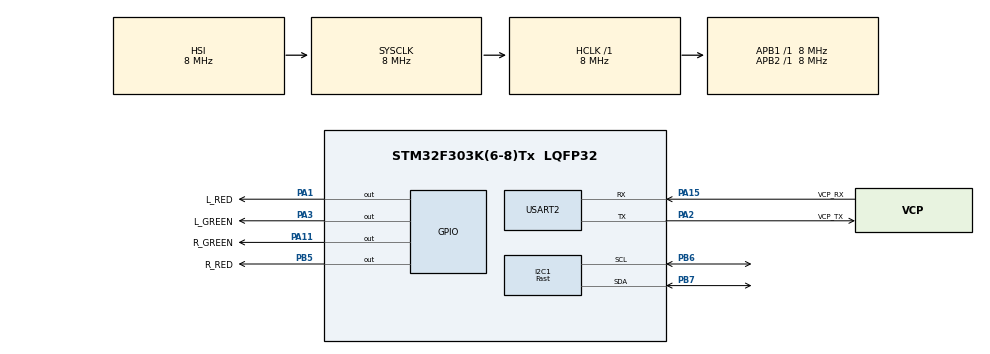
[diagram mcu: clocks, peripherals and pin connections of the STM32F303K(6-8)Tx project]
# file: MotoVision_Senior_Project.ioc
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I2C1.I2C_Speed_Mode=I2C_Fast
I2C1.OwnAddress=0x62
I2C1.Speed=400
I2C1.Timing=0x0000020B
Mcu.Family=STM32F3
Mcu.Name=STM32F303K(6-8)Tx
Mcu.Package=LQFP32
NVIC.I2C1_EV_IRQn=true\:0\:0\:false\:false\:true\:true\:true\:true
NVIC.PriorityGroup=NVIC_PRIORITYGROUP_4
PA1.GPIO_Label=L_RED
PA1.Signal=GPIO_Output
PA11.GPIO_Label=R_GREEN
PA11.Signal=GPIO_Output
PA13.GPIO_Label=SWDIO
PA13.Mode=Serial_Wire
PA13.Signal=SYS_JTMS-SWDIO
PA14.GPIO_Label=SWCLK
PA14.Mode=Serial_Wire
PA14.Signal=SYS_JTCK-SWCLK
PA15.GPIO_Label=VCP_RX
PA15.Mode=Asynchronous
PA15.Signal=USART2_RX
PA2.GPIO_Label=VCP_TX
PA2.Mode=Asynchronous
PA2.Signal=USART2_TX
PA3.GPIO_Label=L_GREEN
PA3.Signal=GPIO_Output
PB5.GPIO_Label=R_RED
PB5.Signal=GPIO_Output
PB6.GPIO_FM6=SYSCFG_CFGR1_I2C_PB6_FMP
PB6.GPIO_Pu=GPIO_PULLUP
PB6.Mode=I2C
PB6.Signal=I2C1_SCL
PB7.GPIO_FM7=SYSCFG_CFGR1_I2C_PB7_FMP
PB7.GPIO_Pu=GPIO_PULLUP
PB7.Mode=I2C
PB7.Signal=I2C1_SDA
PF0\ /\ OSC_IN.GPIO_Label=MCO
PF0\ /\ OSC_IN.Mode=HSE-External-Clock-Source
PF0\ /\ OSC_IN.Signal=RCC_OSC_IN
ProjectManager.HeapSize=0x200
ProjectManager.StackSize=0x400
ProjectManager.TargetToolchain=STM32CubeIDE
RCC.AHBFreq_Value=8000000
RCC.APB1Freq_Value=8000000
RCC.APB2Freq_Value=8000000
RCC.CortexFreq_Value=8000000
RCC.HSE_VALUE=8000000
RCC.HSI_VALUE=8000000
RCC.SYSCLKFreq_VALUE=8000000
USART2.VirtualMode-Asynchronous=VM_ASYNC
board=NUCLEO-F303K8

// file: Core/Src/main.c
/* USER CODE BEGIN Header */
/**
  ******************************************************************************
  * @file           : main.c
  * @brief          : Main program body
  ******************************************************************************
  * @attention
  *
  * Copyright (c) 2023 STMicroelectronics.
  * All rights reserved.
  *
  * This software is licensed under terms that can be found in the LICENSE file
  * in the root directory of this software component.
  * If no LICENSE file comes with this software, it is provided AS-IS.
  *
  ******************************************************************************
  */
/* USER CODE END Header */
#include "main.h"

/* USER CODE BEGIN Includes */
#include "garmin_lidar_litev4.h"
#include "RGB_LED.h"

#include <stdio.h>
#include <string.h>
/* USER CODE END Includes */

I2C_HandleTypeDef hi2c1;

UART_HandleTypeDef huart2;

void SystemClock_Config(void);
static void MX_GPIO_Init(void);
static void MX_USART2_UART_Init(void);
static void MX_I2C1_Init(void);

int main(void)
{

  /* MCU Configuration--------------------------------------------------------*/

  /* Reset of all peripherals, Initializes the Flash interface and the Systick. */
  HAL_Init();

  /* Configure the system clock */
  SystemClock_Config();

  /* Initialize all configured peripherals */
  MX_GPIO_Init();
  MX_USART2_UART_Init();
  MX_I2C1_Init();
  /* USER CODE BEGIN 2 */

  // Disable default address for left sensor
  // DisableDefaultAddress(LIDAR_ADDR_L);
  ConfigureLidarAddress(LIDAR_ADDR_L, LIDAR_ADDR_L, 1);

  CheckRightSensor();
  CheckLeftSensor();

  uint16_t tempR;
  uint16_t tempL;
  /* USER CODE END 2 */

  /* Infinite loop */
  /* USER CODE BEGIN WHILE */
  while (1)
  {
	  // Get right and left distances
	  tempR = GetDistance(LIDAR_ADDR_R);
	  tempL = GetDistance(LIDAR_ADDR_L);

	  // Check for 'Lane Splitting' condition
	  if(tempR < 100 && tempL < 100)
	  {
		  R_OFF_LED();
		  L_OFF_LED();
	  }
	  else {
		  // Check for valid right distance and set
		  if(tempR > 5)
			  distanceR = tempR;
		  // If distance not valid keep previous distance
		  if(distanceR < 100)
			  R_RED_LED();
		  else if(distanceR > 200)
			  R_OFF_LED();
		  else
			  R_YELLOW_LED();

		  // Check for valid left distance and set
		  if(tempL > 5)
			  distanceL = tempL;
		  // If distance not valid keep previous distance
		  if(distanceL < 100)
			  L_RED_LED();
		  else if(distanceL > 200)
			  L_OFF_LED();
		  else
			  L_YELLOW_LED();
	  }

	  /*
	  sprintf(msg, "distance L: %d\r\n", distanceL);
	  HAL_UART_Transmit(&huart2, (uint8_t*) msg, strlen(msg),HAL_MAX_DELAY);

	  sprintf(msg, "distance R: %d\r\n", distanceR);
	  HAL_UART_Transmit(&huart2, (uint8_t*) msg, strlen(msg),HAL_MAX_DELAY);
	  */

	  // Wait 100 ms
	  HAL_Delay(100);

    /* USER CODE END WHILE */

  }
}

void SystemClock_Config(void)
{
  RCC_OscInitTypeDef RCC_OscInitStruct = {0};
  RCC_ClkInitTypeDef RCC_ClkInitStruct = {0};
  RCC_PeriphCLKInitTypeDef PeriphClkInit = {0};

  /** Initializes the RCC Oscillators according to the specified parameters
  * in the RCC_OscInitTypeDef structure.
  */
  RCC_OscInitStruct.OscillatorType = RCC_OSCILLATORTYPE_HSI;
  RCC_OscInitStruct.HSIState = RCC_HSI_ON;
  RCC_OscInitStruct.HSICalibrationValue = RCC_HSICALIBRATION_DEFAULT;
  RCC_OscInitStruct.PLL.PLLState = RCC_PLL_NONE;
  if (HAL_RCC_OscConfig(&RCC_OscInitStruct) != HAL_OK)
  {
    Error_Handler();
  }

  /** Initializes the CPU, AHB and APB buses clocks
  */
  RCC_ClkInitStruct.ClockType = RCC_CLOCKTYPE_HCLK|RCC_CLOCKTYPE_SYSCLK
                              |RCC_CLOCKTYPE_PCLK1|RCC_CLOCKTYPE_PCLK2;
  RCC_ClkInitStruct.SYSCLKSource = RCC_SYSCLKSOURCE_HSI;
  RCC_ClkInitStruct.AHBCLKDivider = RCC_SYSCLK_DIV1;
  RCC_ClkInitStruct.APB1CLKDivider = RCC_HCLK_DIV1;
  RCC_ClkInitStruct.APB2CLKDivider = RCC_HCLK_DIV1;

  if (HAL_RCC_ClockConfig(&RCC_ClkInitStruct, FLASH_LATENCY_0) != HAL_OK)
  {
    Error_Handler();
  }
  PeriphClkInit.PeriphClockSelection = RCC_PERIPHCLK_I2C1;
  PeriphClkInit.I2c1ClockSelection = RCC_I2C1CLKSOURCE_HSI;
  if (HAL_RCCEx_PeriphCLKConfig(&PeriphClkInit) != HAL_OK)
  {
    Error_Handler();
  }
}

static void MX_I2C1_Init(void)
{

  hi2c1.Instance = I2C1;
  hi2c1.Init.Timing = 0x0000020B;
  hi2c1.Init.OwnAddress1 = 196;
  hi2c1.Init.AddressingMode = I2C_ADDRESSINGMODE_7BIT;
  hi2c1.Init.DualAddressMode = I2C_DUALADDRESS_DISABLE;
  hi2c1.Init.OwnAddress2 = 0;
  hi2c1.Init.OwnAddress2Masks = I2C_OA2_NOMASK;
  hi2c1.Init.GeneralCallMode = I2C_GENERALCALL_DISABLE;
  hi2c1.Init.NoStretchMode = I2C_NOSTRETCH_DISABLE;
  if (HAL_I2C_Init(&hi2c1) != HAL_OK)
  {
    Error_Handler();
  }

  /** Configure Analogue filter
  */
  if (HAL_I2CEx_ConfigAnalogFilter(&hi2c1, I2C_ANALOGFILTER_ENABLE) != HAL_OK)
  {
    Error_Handler();
  }

  /** Configure Digital filter
  */
  if (HAL_I2CEx_ConfigDigitalFilter(&hi2c1, 0) != HAL_OK)
  {
    Error_Handler();
  }

}

static void MX_USART2_UART_Init(void)
{

  huart2.Instance = USART2;
  huart2.Init.BaudRate = 38400;
  huart2.Init.WordLength = UART_WORDLENGTH_8B;
  huart2.Init.StopBits = UART_STOPBITS_1;
  huart2.Init.Parity = UART_PARITY_NONE;
  huart2.Init.Mode = UART_MODE_TX_RX;
  huart2.Init.HwFlowCtl = UART_HWCONTROL_NONE;
  huart2.Init.OverSampling = UART_OVERSAMPLING_16;
  huart2.Init.OneBitSampling = UART_ONE_BIT_SAMPLE_DISABLE;
  huart2.AdvancedInit.AdvFeatureInit = UART_ADVFEATURE_NO_INIT;
  if (HAL_UART_Init(&huart2) != HAL_OK)
  {
    Error_Handler();
  }

}

static void MX_GPIO_Init(void)
{
  GPIO_InitTypeDef GPIO_InitStruct = {0};

  /* GPIO Ports Clock Enable */
  __HAL_RCC_GPIOF_CLK_ENABLE();
  __HAL_RCC_GPIOA_CLK_ENABLE();
  __HAL_RCC_GPIOB_CLK_ENABLE();

  /*Configure GPIO pin Output Level */
  HAL_GPIO_WritePin(GPIOA, L_RED_Pin|L_GREEN_Pin|R_GREEN_Pin, GPIO_PIN_RESET);

  /*Configure GPIO pin Output Level */
  HAL_GPIO_WritePin(R_RED_GPIO_Port, R_RED_Pin, GPIO_PIN_RESET);

  /*Configure GPIO pins : L_RED_Pin L_GREEN_Pin R_GREEN_Pin */
  GPIO_InitStruct.Pin = L_RED_Pin|L_GREEN_Pin|R_GREEN_Pin;
  GPIO_InitStruct.Mode = GPIO_MODE_OUTPUT_PP;
  GPIO_InitStruct.Pull = GPIO_NOPULL;
  GPIO_InitStruct.Speed = GPIO_SPEED_FREQ_LOW;
  HAL_GPIO_Init(GPIOA, &GPIO_InitStruct);

  /*Configure GPIO pin : R_RED_Pin */
  GPIO_InitStruct.Pin = R_RED_Pin;
  GPIO_InitStruct.Mode = GPIO_MODE_OUTPUT_PP;
  GPIO_InitStruct.Pull = GPIO_NOPULL;
  GPIO_InitStruct.Speed = GPIO_SPEED_FREQ_LOW;
  HAL_GPIO_Init(R_RED_GPIO_Port, &GPIO_InitStruct);

}

void Error_Handler(void)
{
  __disable_irq();
  while (1)
  {
  }
}
